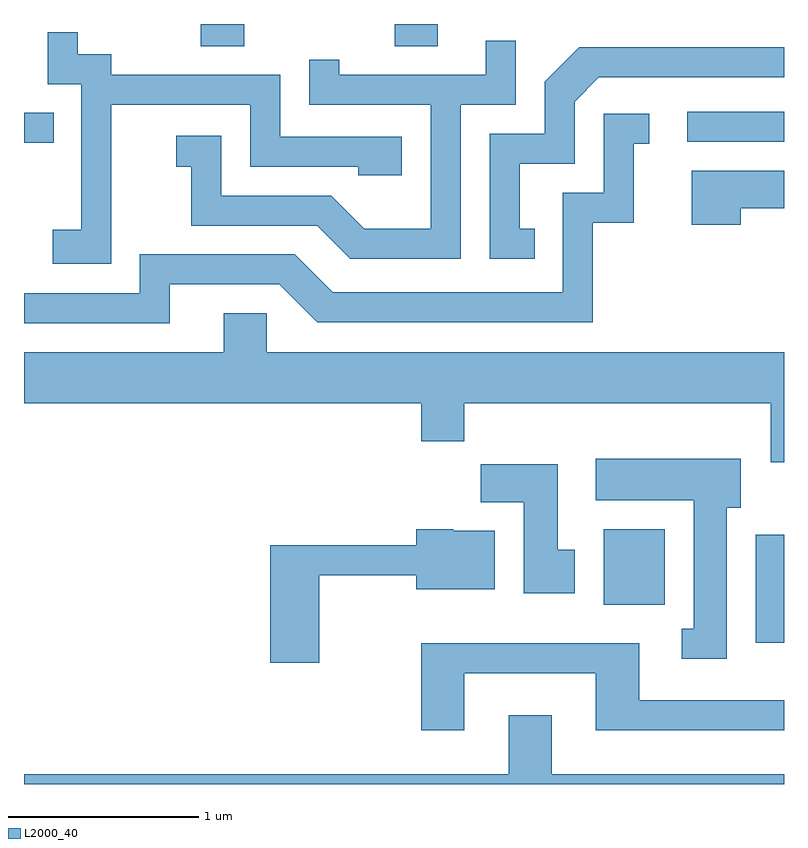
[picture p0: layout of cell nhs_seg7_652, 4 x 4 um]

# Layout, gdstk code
import gdstk
lib = gdstk.Library(unit=1e-6, precision=1e-09)
def R(c, l, rs):  # rectangles x0, y0, x1, y1
    for r in rs: c.add(gdstk.rectangle(r[:2], r[2:], *l))
def P(c, l, *ps):  # polygons
    for p in ps: c.add(gdstk.Polygon(p, *l))
L2000_40 = (2000, 40)

nhs_seg7_652 = lib.new_cell('nhs_seg7_652')
R(nhs_seg7_652, L2000_40, [(207.461,1772.996,207.611,1773.564), (206.661,1773.196,206.984,1773.594), (203.611,1775.626,203.768,1775.784), (207.103,1775.631,207.611,1775.789), (204.541,1776.136,204.769,1776.252), (205.561,1776.136,205.789,1776.252)])
P(nhs_seg7_652, L2000_40, [(204.069,1775.826),(204.801,1775.826),(204.801,1775.501),(205.371,1775.501),(205.371,1775.456),(205.599,1775.456),(205.599,1775.659),(204.959,1775.659),(204.959,1775.984),(204.069,1775.984),(204.069,1776.094),(203.894,1776.094),(203.894,1776.208),(203.736,1776.208),(203.736,1775.936),(203.911,1775.936),(203.911,1775.169),(203.761,1775.169),(203.761,1774.991),(204.069,1774.991)],
  [(205.909,1775.826),(206.199,1775.826),(206.199,1776.163),(206.041,1776.163),(206.041,1775.984),(205.269,1775.984),(205.269,1776.063),(205.111,1776.063),(205.111,1775.826),(205.751,1775.826),(205.751,1775.174),(205.402,1775.174),(205.227,1775.349),(204.649,1775.349),(204.649,1775.664),(204.413,1775.664),(204.413,1775.501),(204.491,1775.501),(204.491,1775.191),(205.154,1775.191),(205.329,1775.016),(205.909,1775.016)],
  [(206.298,1775.174),(206.219,1775.174),(206.219,1775.516),(206.509,1775.516),(206.509,1775.844),(206.637,1775.971),(207.611,1775.971),(207.611,1776.129),(206.534,1776.129),(206.351,1775.947),(206.351,1775.674),(206.061,1775.674),(206.061,1775.016),(206.298,1775.016)],
  [(204.379,1774.881),(204.954,1774.881),(205.154,1774.681),(206.604,1774.681),(206.604,1775.206),(206.819,1775.206),(206.819,1775.621),(206.903,1775.621),(206.903,1775.779),(206.661,1775.779),(206.661,1775.364),(206.446,1775.364),(206.446,1774.839),(205.237,1774.839),(205.037,1775.039),(204.221,1775.039),(204.221,1774.834),(203.611,1774.834),(203.611,1774.676),(204.379,1774.676)],
  [(207.384,1775.281),(207.611,1775.281),(207.611,1775.479),(207.126,1775.479),(207.126,1775.196),(207.384,1775.196)],
  [(207.611,1774.524),(204.889,1774.524),(204.889,1774.729),(204.661,1774.729),(204.661,1774.524),(203.611,1774.524),(203.611,1774.256),(205.701,1774.256),(205.701,1774.056),(205.929,1774.056),(205.929,1774.256),(207.541,1774.256),(207.541,1773.946),(207.611,1773.946)],
  [(207.309,1773.706),(207.384,1773.706),(207.384,1773.964),(206.621,1773.964),(206.621,1773.746),(207.136,1773.746),(207.136,1773.069),(207.073,1773.069),(207.073,1772.911),(207.309,1772.911)],
  [(206.509,1773.484),(206.419,1773.484),(206.419,1773.934),(206.016,1773.934),(206.016,1773.736),(206.241,1773.736),(206.241,1773.256),(206.509,1773.256)],
  [(205.164,1773.351),(205.676,1773.351),(205.676,1773.276),(206.089,1773.276),(206.089,1773.584),(205.87,1773.584),(205.87,1773.594),(205.676,1773.594),(205.676,1773.509),(204.906,1773.509),(204.906,1772.891),(205.164,1772.891)],
  [(205.929,1772.836),(206.621,1772.836),(206.621,1772.536),(207.611,1772.536),(207.611,1772.694),(206.849,1772.694),(206.849,1772.994),(205.701,1772.994),(205.701,1772.536),(205.929,1772.536)],
  [(207.611,1772.304),(206.389,1772.304),(206.389,1772.614),(206.161,1772.614),(206.161,1772.304),(203.611,1772.304),(203.611,1772.252),(207.611,1772.252)])

lib.write_gds('nhs_seg7_652.gds')
